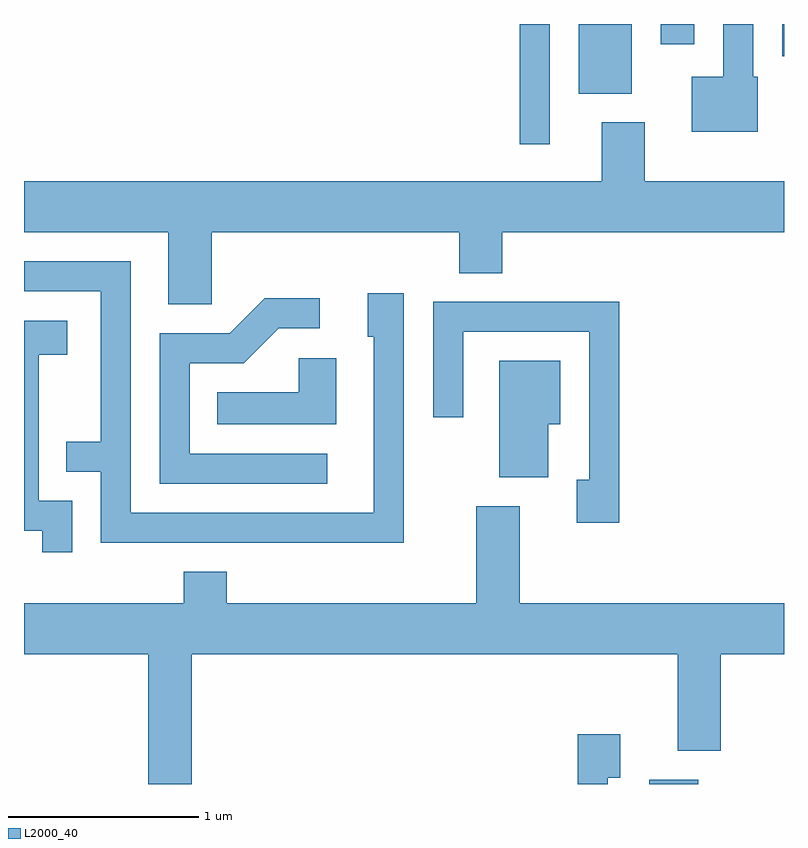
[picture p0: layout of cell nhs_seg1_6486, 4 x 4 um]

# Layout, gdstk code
import gdstk
lib = gdstk.Library(unit=1e-6, precision=1e-09)
def R(c, l, rs):  # rectangles x0, y0, x1, y1
    for r in rs: c.add(gdstk.rectangle(r[:2], r[2:], *l))
def P(c, l, *ps):  # polygons
    for p in ps: c.add(gdstk.Polygon(p, *l))
L2000_40 = (2000, 40)

nhs_seg1_6486 = lib.new_cell('nhs_seg1_6486')
R(nhs_seg1_6486, L2000_40, [(382.901,967.712,383.159,967.734), (382.221,971.078,382.379,971.712), (382.531,971.346,382.809,971.712), (383.601,971.541,383.611,971.712), (382.961,971.606,383.139,971.712)])
P(nhs_seg1_6486, L2000_40, [(383.474,971.434),(383.449,971.434),(383.449,971.712),(383.291,971.712),(383.291,971.434),(383.126,971.434),(383.126,971.146),(383.474,971.146)],
  [(380.599,970.616),(381.901,970.616),(381.901,970.401),(382.129,970.401),(382.129,970.616),(383.611,970.616),(383.611,970.884),(382.879,970.884),(382.879,971.194),(382.651,971.194),(382.651,970.884),(379.611,970.884),(379.611,970.616),(380.371,970.616),(380.371,970.236),(380.599,970.236)],
  [(381.609,970.294),(381.421,970.294),(381.421,970.066),(381.451,970.066),(381.451,969.139),(380.174,969.139),(380.174,970.464),(379.611,970.464),(379.611,970.306),(380.016,970.306),(380.016,969.514),(379.833,969.514),(379.833,969.356),(380.016,969.356),(380.016,968.981),(381.609,968.981)],
  [(381.208,969.449),(380.484,969.449),(380.484,969.926),(380.767,969.926),(380.952,970.111),(381.168,970.111),(381.168,970.269),(380.879,970.269),(380.694,970.084),(380.326,970.084),(380.326,969.291),(381.208,969.291)],
  [(382.744,970.249),(381.766,970.249),(381.766,969.643),(381.924,969.643),(381.924,970.091),(382.586,970.091),(382.586,969.314),(382.521,969.314),(382.521,969.086),(382.744,969.086)],
  [(379.864,969.204),(379.689,969.204),(379.689,969.971),(379.839,969.971),(379.839,970.149),(379.611,970.149),(379.611,969.046),(379.706,969.046),(379.706,968.933),(379.864,968.933)],
  [(381.254,969.954),(381.056,969.954),(381.056,969.774),(380.628,969.774),(380.628,969.606),(381.254,969.606)],
  [(382.369,969.606),(382.434,969.606),(382.434,969.939),(382.111,969.939),(382.111,969.326),(382.369,969.326)],
  [(380.494,968.396),(383.051,968.396),(383.051,967.886),(383.279,967.886),(383.279,968.396),(383.611,968.396),(383.611,968.664),(382.219,968.664),(382.219,969.174),(381.991,969.174),(381.991,968.664),(380.679,968.664),(380.679,968.829),(380.451,968.829),(380.451,968.664),(379.611,968.664),(379.611,968.396),(380.266,968.396),(380.266,967.712),(380.494,967.712)],
  [(382.684,967.746),(382.749,967.746),(382.749,967.974),(382.526,967.974),(382.526,967.712),(382.684,967.712)])

lib.write_gds('nhs_seg1_6486.gds')
